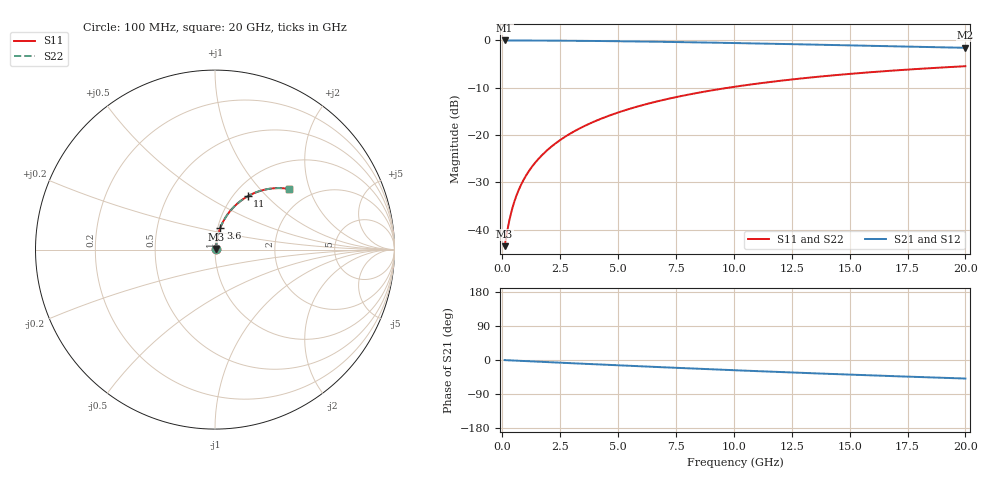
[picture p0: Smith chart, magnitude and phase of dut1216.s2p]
! Touchstone file exported from HFSS 2026.1.0
!  File:  C:/ffzhzh/LocalFiles/Ansys_Project_Files/temp_train_BSMRDL_1216_1783176734_55132.aedt
!  Generated:  10:53:26 PM Jul  4, 2026
!  Design:  BSMRDL
!  Project:  temp_train_BSMRDL_1216_1783176734_55132
! Variables:
!  h_bsmrdl = 3.82um
!  h_ox = 20um
!  h_rdl = 5um
!  h_sub = 80um
!  h_tmrdl = 5um
!  h_tsv = 80um
!  h_via = 3um
!  l_bsmrdl = 671.23um
!  l_sub = 1071.23um
!  l_tmrdl = 200um
!  m_sub = 200um
!  pitch = 44.7um
!  r_tsv = 6um
!  s_tmrdl = 10um
!  w_bsmrdl = 11.07um
!  w_sub = 500um
!  w_tmrdl = 12um
!  x_tsv_center1 = 206um
!  x_tsv_center2 = 888.3um
!  x_tsv_center3 = 1100.3um
!  x_tsv_center4 = 1782.6um
!  x_tsv_center5 = 1994.6um
!  x_tsv_center6 = 2676.9um
# GHz S MA R 50.000000
! Terminal data exported
! Port[1] = BSM_RDL1_1_T1
! Port[2] = BSM_RDL1_1_T2
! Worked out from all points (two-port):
!   200 points, 100 MHz to 20 GHz, reference 50 ohm
!   highest |S21| = -0.05 dB at 100 MHz (marker M1); lowest = -1.6 dB at 20 GHz (marker M2)
!   |S21| within 3 dB of the highest: start of sweep to end of sweep
!   lowest |S11| = -43.4 dB at 100 MHz (marker M3), VSWR 1.01, Z = 50.6 + j0.371 ohm
!   |S11| at or under -10 dB: start of sweep to 9.784 GHz
!   |S22| runs from -43.4 to -5.5 dB; largest |S21 - S12| = 4.2e-15
!   S11 on the Smith chart (normalised r, x): 100 MHz: 1.01, +0.01; 3.6 GHz: 1.03, +0.26; 11 GHz: 1.16, +0.78; 20 GHz: 1.55, +1.46
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0.1  0.006726 33.0  0.9944 -0.3  0.9944 -0.3  0.006726 33.0
! Gamma 0 0 0 0
! Port Impedance 50 0 50 0
0.2  0.009307 51.8  0.9943 -0.6  0.9943 -0.6  0.009307 51.8
0.3  0.01244 61.5  0.9942 -0.9  0.9942 -0.9  0.01244 61.5
0.4  0.01577 67.0  0.994 -1.2  0.994 -1.2  0.01577 67.0
0.5  0.01917 70.4  0.9939 -1.4  0.9939 -1.4  0.01917 70.4
0.6  0.02261 72.7  0.9937 -1.7  0.9937 -1.7  0.02261 72.7
0.8  0.02953 75.5  0.9934 -2.3  0.9934 -2.3  0.02953 75.5
1.1  0.03995 77.6  0.9928 -3.1  0.9928 -3.1  0.03995 77.6
1.5  0.05388 78.6  0.992 -4.3  0.992 -4.3  0.05388 78.6
2.1  0.07475 78.7  0.9903 -6.0  0.9903 -6.0  0.07475 78.7
2.7  0.09551 78.0  0.9882 -7.7  0.9882 -7.7  0.09551 78.0
3.5  0.1229 76.5  0.9847 -9.9  0.9847 -9.9  0.1229 76.5
3.6  0.1263 76.3  0.9842 -10.2  0.9842 -10.2  0.1263 76.3
4.3  0.1498 74.7  0.9804 -12.1  0.9804 -12.1  0.1498 74.7
5  0.1728 73.1  0.9761 -14.0  0.9761 -14.0  0.1728 73.1
6.8  0.2299 68.6  0.963 -18.8  0.963 -18.8  0.2299 68.6
8.3  0.2746 64.9  0.9503 -22.7  0.9503 -22.7  0.2746 64.9
10.1  0.3248 60.6  0.9333 -27.2  0.9333 -27.2  0.3248 60.6
11  0.3484 58.5  0.9244 -29.4  0.9244 -29.4  0.3484 58.5
13.4  0.4065 53.0  0.8997 -35.0  0.8997 -35.0  0.4065 53.0
16.7  0.4752 46.0  0.8651 -42.2  0.8651 -42.2  0.4752 46.0
20  0.5319 39.5  0.8317 -48.9  0.8317 -48.9  0.5319 39.5
